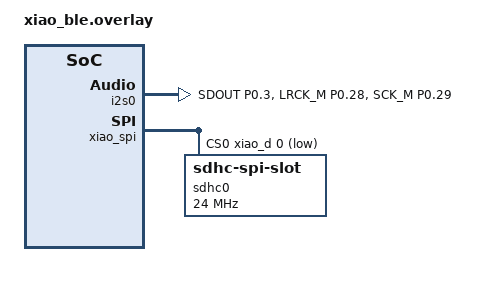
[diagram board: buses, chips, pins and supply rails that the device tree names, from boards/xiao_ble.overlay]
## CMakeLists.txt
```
cmake_minimum_required(VERSION 3.20.0)
find_package(Zephyr REQUIRED HINTS $ENV{ZEPHYR_BASE})

project(wav-zephyr-control)

target_sources(app PRIVATE
src/main.c
src/playback.c
src/ble_control.c)
    
```

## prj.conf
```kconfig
CONFIG_BT=y
CONFIG_BT_PERIPHERAL=y
CONFIG_BT_DEVICE_NAME="XIAO-WAV"
CONFIG_BT_DEVICE_APPEARANCE=0
CONFIG_BT_MAX_CONN=1
CONFIG_BT_GATT_DYNAMIC_DB=n

CONFIG_SYSTEM_WORKQUEUE_STACK_SIZE=2048

CONFIG_PRINTK=y
CONFIG_CONSOLE=y
CONFIG_SERIAL=y
CONFIG_UART_CONSOLE=y

CONFIG_I2S=y
CONFIG_SPI=y
CONFIG_DISK_ACCESS=y
CONFIG_FILE_SYSTEM=y
CONFIG_FAT_FILESYSTEM_ELM=y
CONFIG_LOG=y

CONFIG_MAIN_STACK_SIZE=4096
CONFIG_HEAP_MEM_POOL_SIZE=16384
```

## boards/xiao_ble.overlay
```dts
/* boards/xiao_ble.overlay */
#include <zephyr/dt-bindings/pinctrl/nrf-pinctrl.h>

/ {
	aliases {
		i2s-tx = &i2s0;
	};
};

&pinctrl {
	i2s0_default: i2s0_default {
		group1 {
			psels = <
				NRF_PSEL(I2S_SDOUT, 0, 3)
				NRF_PSEL(I2S_LRCK_M, 0, 28)
				NRF_PSEL(I2S_SCK_M, 0, 29)
			>;
		};
	};
};

&i2s0 {
	status = "okay";
	pinctrl-0 = <&i2s0_default>;
	pinctrl-names = "default";
};

&xiao_spi {
	status = "okay";
	cs-gpios = <&xiao_d 0 GPIO_ACTIVE_LOW>;

	sdhc0: sdhc@0 {
		compatible = "zephyr,sdhc-spi-slot";
		reg = <0>;
		status = "okay";
		spi-max-frequency = <24000000>;

		mmc {
			compatible = "zephyr,sdmmc-disk";
			disk-name = "SD";
			status = "okay";
		};
	};
};
```

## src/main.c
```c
#include <stdbool.h>
#include <stdint.h>
#include <string.h>

#include <zephyr/kernel.h>
#include <zephyr/sys/printk.h>

#include "app_cmd.h"
#include "ble_control.h"
#include "playback.h"

#define PLAYER_STACK_SIZE 4096
#define PLAYER_PRIORITY 5

K_MSGQ_DEFINE(player_cmd_q, sizeof(struct app_cmd), 8, 4);

struct player_state {
	bool playing;
	bool paused;
	uint8_t volume;
	char current_file[APP_MAX_FILENAME];
};

static struct player_state g_player = {
	.playing = false,
	.paused = false,
	.volume = 100,
	.current_file = "SAMPL~16.WAV",
};

K_THREAD_STACK_DEFINE(player_stack, PLAYER_STACK_SIZE);
static struct k_thread player_thread_data;

static void handle_cmd(const struct app_cmd *cmd)
{
	int ret;

	switch (cmd->type) {
	case APP_CMD_PLAY:
		strncpy(g_player.current_file, cmd->filename,
			sizeof(g_player.current_file) - 1);
		g_player.current_file[sizeof(g_player.current_file) - 1] = '\0';

		ret = playback_play(g_player.current_file);
		if (ret == 0) {
			g_player.playing = true;
			g_player.paused = false;
		} else {
			printk("PLAY failed: %d\n", ret);
			g_player.playing = false;
			g_player.paused = false;
		}
		break;

	case APP_CMD_STOP:
		ret = playback_stop();
		if (ret < 0) {
			printk("STOP failed: %d\n", ret);
		}
		g_player.playing = false;
		g_player.paused = false;
		break;

	case APP_CMD_PAUSE:
		if (g_player.playing && !g_player.paused) {
			ret = playback_pause();
			if (ret < 0) {
				printk("PAUSE failed: %d\n", ret);
			} else {
				g_player.paused = true;
			}
		}
		break;

	case APP_CMD_RESUME:
		if (g_player.playing && g_player.paused) {
			ret = playback_resume();
			if (ret < 0) {
				printk("RESUME failed: %d\n", ret);
			} else {
				g_player.paused = false;
			}
		}
		break;

	case APP_CMD_SET_VOLUME:
		ret = playback_set_volume(cmd->volume);
		if (ret < 0) {
			printk("SET_VOLUME failed: %d\n", ret);
		} else {
			g_player.volume = cmd->volume;
		}
		break;

	default:
		printk("Unhandled command type: %d\n", cmd->type);
		break;
	}
}

static void player_thread(void *p1, void *p2, void *p3)
{
	ARG_UNUSED(p1);
	ARG_UNUSED(p2);
	ARG_UNUSED(p3);

	struct app_cmd cmd;

	printk("Playback thread started\n");

	for (;;) {
		if (k_msgq_get(&player_cmd_q, &cmd, K_FOREVER) == 0) {
			handle_cmd(&cmd);
		}
	}
}

int main(void)
{
	int err;

	printk("Starting BLE WAV controller\n");

	err = playback_init();
	if (err) {
		printk("Playback init failed: %d\n", err);
		return err;
	}

	k_thread_create(&player_thread_data,
			player_stack,
			K_THREAD_STACK_SIZEOF(player_stack),
			player_thread,
			NULL, NULL, NULL,
			PLAYER_PRIORITY,
			0,
			K_NO_WAIT);

	err = ble_control_init(&player_cmd_q);
	if (err) {
		printk("BLE control init failed: %d\n", err);
		return err;
	}

	printk("Ready\n");
	return 0;
}
```

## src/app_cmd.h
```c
#pragma once

#include <stdint.h>

#define APP_MAX_FILENAME 32

enum app_cmd_type {
    APP_CMD_PLAY = 1,
    APP_CMD_STOP,
    APP_CMD_PAUSE,
    APP_CMD_RESUME,
    APP_CMD_SET_VOLUME,
};

struct app_cmd {
    enum app_cmd_type type;
    uint8_t volume;
    char filename[APP_MAX_FILENAME];
};
```

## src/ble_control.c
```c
#include <stdlib.h>
#include <string.h>

#include <zephyr/bluetooth/bluetooth.h>
#include <zephyr/bluetooth/gatt.h>
#include <zephyr/bluetooth/uuid.h>
#include <zephyr/kernel.h>
#include <zephyr/sys/printk.h>
#include <zephyr/sys/util.h>

#include "app_cmd.h"
#include "ble_control.h"

#define BT_UUID_PLAYER_SERVICE_VAL \
	BT_UUID_128_ENCODE(0x12345678, 0x1234, 0x5678, 0x1234, 0x56789abcdef0)

#define BT_UUID_PLAYER_CTRL_VAL \
	BT_UUID_128_ENCODE(0x12345678, 0x1234, 0x5678, 0x1234, 0x56789abcdef1)

static struct k_msgq *g_cmd_q;

static struct bt_uuid_128 player_service_uuid =
	BT_UUID_INIT_128(BT_UUID_PLAYER_SERVICE_VAL);

static struct bt_uuid_128 player_ctrl_uuid =
	BT_UUID_INIT_128(BT_UUID_PLAYER_CTRL_VAL);

static ssize_t ctrl_write(struct bt_conn *conn,
			  const struct bt_gatt_attr *attr,
			  const void *buf,
			  uint16_t len,
			  uint16_t offset,
			  uint8_t flags)
{
	ARG_UNUSED(conn);
	ARG_UNUSED(attr);
	ARG_UNUSED(flags);

	struct app_cmd cmd = {0};
	char tmp[48];
	size_t n = MIN((size_t)len, sizeof(tmp) - 1);

	if (offset != 0) {
		return BT_GATT_ERR(BT_ATT_ERR_INVALID_OFFSET);
	}

	memcpy(tmp, buf, n);
	tmp[n] = '\0';

	printk("BLE cmd: %s\n", tmp);

	if (strcmp(tmp, "STOP") == 0) {
		cmd.type = APP_CMD_STOP;
	} else if (strcmp(tmp, "PAUSE") == 0) {
		cmd.type = APP_CMD_PAUSE;
	} else if (strcmp(tmp, "RESUME") == 0) {
		cmd.type = APP_CMD_RESUME;
	} else if (strncmp(tmp, "VOL:", 4) == 0) {
		cmd.type = APP_CMD_SET_VOLUME;
		cmd.volume = (uint8_t)atoi(&tmp[4]);
	} else if (strncmp(tmp, "PLAY:", 5) == 0) {
		cmd.type = APP_CMD_PLAY;
		strncpy(cmd.filename, &tmp[5], sizeof(cmd.filename) - 1);
		cmd.filename[sizeof(cmd.filename) - 1] = '\0';
	} else {
		printk("Unknown command\n");
		return BT_GATT_ERR(BT_ATT_ERR_VALUE_NOT_ALLOWED);
	}

	if (g_cmd_q == NULL) {
		return BT_GATT_ERR(BT_ATT_ERR_UNLIKELY);
	}

	if (k_msgq_put(g_cmd_q, &cmd, K_NO_WAIT) != 0) {
		printk("Command queue full\n");
		return BT_GATT_ERR(BT_ATT_ERR_INSUFFICIENT_RESOURCES);
	}

	return len;
}

BT_GATT_SERVICE_DEFINE(player_svc,
	BT_GATT_PRIMARY_SERVICE(&player_service_uuid),
	BT_GATT_CHARACTERISTIC(&player_ctrl_uuid.uuid,
			       BT_GATT_CHRC_WRITE | BT_GATT_CHRC_WRITE_WITHOUT_RESP,
			       BT_GATT_PERM_WRITE,
			       NULL, ctrl_write, NULL),
);

static const struct bt_data ad[] = {
	BT_DATA_BYTES(BT_DATA_FLAGS, (BT_LE_AD_GENERAL | BT_LE_AD_NO_BREDR)),
	BT_DATA_BYTES(BT_DATA_UUID128_ALL, BT_UUID_PLAYER_SERVICE_VAL),
};

static const struct bt_data sd[] = {
	BT_DATA(BT_DATA_NAME_COMPLETE, CONFIG_BT_DEVICE_NAME,
		sizeof(CONFIG_BT_DEVICE_NAME) - 1),
};

static int start_advertising(void)
{
	int err = bt_le_adv_start(BT_LE_ADV_CONN, ad, ARRAY_SIZE(ad),
				  sd, ARRAY_SIZE(sd));

	if (err) {
		printk("Advertising failed to start: %d\n", err);
		return err;
	}

	printk("Advertising started\n");
	return 0;
}

int ble_control_init(struct k_msgq *cmd_q)
{
	int err;

	g_cmd_q = cmd_q;

	err = bt_enable(NULL);
	if (err) {
		printk("Bluetooth init failed: %d\n", err);
		return err;
	}

	printk("Bluetooth initialized\n");

	return start_advertising();
}
```

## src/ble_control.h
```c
#pragma once

#include <zephyr/kernel.h>

int ble_control_init(struct k_msgq *cmd_q);
```

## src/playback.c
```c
#include "playback.h"

#include <errno.h>
#include <stdbool.h>
#include <stdint.h>
#include <stdio.h>
#include <string.h>

#include <ff.h>
#include <zephyr/drivers/i2s.h>
#include <zephyr/fs/fs.h>
#include <zephyr/kernel.h>
#include <zephyr/sys/printk.h>
#include <zephyr/sys/util.h>

#include "app_cmd.h"

#define BLOCK_SIZE 2048
#define NUM_BLOCKS 20
#define SD_MOUNT_POINT "/SD:"

#ifdef CONFIG_NOCACHE_MEMORY
#define MEM_SLAB_CACHE_ATTR __nocache
#else
#define MEM_SLAB_CACHE_ATTR
#endif

static char MEM_SLAB_CACHE_ATTR __aligned(WB_UP(32))
	_k_mem_slab_buf_tx_0_mem_slab[NUM_BLOCKS * WB_UP(BLOCK_SIZE)];

static STRUCT_SECTION_ITERABLE(k_mem_slab, tx_0_mem_slab) =
	Z_MEM_SLAB_INITIALIZER(tx_0_mem_slab, _k_mem_slab_buf_tx_0_mem_slab,
			       WB_UP(BLOCK_SIZE), NUM_BLOCKS);

struct wav_header {
	char riff[4];
	uint32_t file_size;
	char wave[4];
	char fmt_id[4];
	uint32_t fmt_size;
	uint16_t audio_format;
	uint16_t num_channels;
	uint32_t sample_rate;
	uint32_t byte_rate;
	uint16_t block_align;
	uint16_t bits_per_sample;
	char data_id[4];
	uint32_t data_size;
} __packed;

static const struct device *g_i2s_dev;
static FATFS fat_fs;
static struct fs_mount_t g_mount = {
	.type = FS_FATFS,
	.fs_data = &fat_fs,
	.mnt_point = SD_MOUNT_POINT,
};
static bool g_sd_mounted;
static uint8_t g_volume = 100;

static void print_wav_header(const struct wav_header *hdr)
{
	printk("WAV header:\n");
	printk("  riff: %.4s\n", hdr->riff);
	printk("  file_size: %u\n", hdr->file_size);
	printk("  wave: %.4s\n", hdr->wave);
	printk("  fmt_id: %.4s\n", hdr->fmt_id);
	printk("  fmt_size: %u\n", hdr->fmt_size);
	printk("  audio_format: %u\n", hdr->audio_format);
	printk("  num_channels: %u\n", hdr->num_channels);
	printk("  sample_rate: %u\n", hdr->sample_rate);
	printk("  byte_rate: %u\n", hdr->byte_rate);
	printk("  block_align: %u\n", hdr->block_align);
	printk("  bits_per_sample: %u\n", hdr->bits_per_sample);
	printk("  data_id: %.4s\n", hdr->data_id);
	printk("  data_size: %u\n", hdr->data_size);
}

static int mount_sd(void)
{
	int ret;

	if (g_sd_mounted) {
		return 0;
	}

	ret = fs_mount(&g_mount);
	if (ret < 0) {
		printk("fs_mount failed: %d\n", ret);
		return ret;
	}

	g_sd_mounted = true;
	printk("SD card mounted at %s\n", g_mount.mnt_point);
	return 0;
}

static int read_wav_header(struct fs_file_t *file, struct wav_header *hdr)
{
	ssize_t n = fs_read(file, hdr, sizeof(*hdr));

	if (n < 0) {
		printk("fs_read header failed: %d\n", (int)n);
		return (int)n;
	}

	if (n != sizeof(*hdr)) {
		printk("Short WAV header read: got %d bytes, expected %u\n",
		       (int)n, (unsigned int)sizeof(*hdr));
		return -EIO;
	}

	print_wav_header(hdr);

	if (memcmp(hdr->riff, "RIFF", 4) != 0 ||
	    memcmp(hdr->wave, "WAVE", 4) != 0 ||
	    memcmp(hdr->fmt_id, "fmt ", 4) != 0 ||
	    memcmp(hdr->data_id, "data", 4) != 0) {
		printk("Unsupported WAV header layout\n");
		return -EINVAL;
	}

	if (hdr->audio_format != 1) {
		printk("Only PCM WAV supported\n");
		return -EINVAL;
	}

	if (hdr->bits_per_sample != 16) {
		printk("Only 16-bit WAV supported\n");
		return -EINVAL;
	}

	if (hdr->num_channels != 1 && hdr->num_channels != 2) {
		printk("Only mono or stereo WAV supported\n");
		return -EINVAL;
	}

	return 0;
}

static void apply_volume_to_stereo_block(int16_t *samples, size_t sample_count)
{
	for (size_t i = 0; i < sample_count; i++) {
		samples[i] = (int16_t)(((int32_t)samples[i] * g_volume) / 100);
	}
}

static ssize_t fill_tx_block_from_wav(struct fs_file_t *file,
				      void *tx_block,
				      size_t block_size,
				      const struct wav_header *hdr)
{
	if (hdr->num_channels == 2) {
		ssize_t n = fs_read(file, tx_block, block_size);

		if (n > 0) {
			size_t sample_count = (size_t)n / sizeof(int16_t);
			apply_volume_to_stereo_block((int16_t *)tx_block, sample_count);

			if (n < (ssize_t)block_size) {
				memset((uint8_t *)tx_block + n, 0,
				       block_size - (size_t)n);
			}
		}

		return n;
	}

	/* Mono 16-bit PCM -> duplicate into stereo. */
	int16_t *out = (int16_t *)tx_block;
	size_t stereo_frames = block_size / 4;
	size_t mono_bytes = stereo_frames * sizeof(int16_t);
	int16_t mono_buf[BLOCK_SIZE / 4];
	ssize_t n = fs_read(file, mono_buf, mono_bytes);

	if (n <= 0) {
		return n;
	}

	size_t samples_read = (size_t)n / sizeof(int16_t);

	for (size_t i = 0; i < samples_read; i++) {
		int16_t scaled = (int16_t)(((int32_t)mono_buf[i] * g_volume) / 100);

		out[2 * i] = scaled;
		out[2 * i + 1] = scaled;
	}

	for (size_t i = samples_read; i < stereo_frames; i++) {
		out[2 * i] = 0;
		out[2 * i + 1] = 0;
	}

	return n;
}

static int configure_i2s(const struct wav_header *hdr)
{
	struct i2s_config i2s_cfg = {
		.word_size = 16U,
		.channels = 2U,
		.format = I2S_FMT_DATA_FORMAT_I2S,
		.frame_clk_freq = hdr->sample_rate,
		.block_size = BLOCK_SIZE,
		.timeout = 2000,
		.options = I2S_OPT_FRAME_CLK_MASTER | I2S_OPT_BIT_CLK_MASTER,
		.mem_slab = &tx_0_mem_slab,
	};

	return i2s_configure(g_i2s_dev, I2S_DIR_TX, &i2s_cfg);
}

int playback_init(void)
{
	g_i2s_dev = DEVICE_DT_GET(DT_ALIAS(i2s_tx));
	if (!device_is_ready(g_i2s_dev)) {
		printk("I2S device not ready\n");
		return -ENODEV;
	}

	printk("playback_init\n");
	return 0;
}

int playback_play(const char *filename)
{
	struct fs_file_t file;
	struct wav_header hdr;
	char wav_path[sizeof(SD_MOUNT_POINT) + 1 + APP_MAX_FILENAME];
	size_t bytes_left;
	bool started = false;
	int ret;

	ret = mount_sd();
	if (ret < 0) {
		return ret;
	}

	if (filename == NULL || filename[0] == '\0') {
		return -EINVAL;
	}

	if (filename[0] == '/') {
		snprintk(wav_path, sizeof(wav_path), "%s", filename);
	} else {
		snprintk(wav_path, sizeof(wav_path), "%s/%s",
			 SD_MOUNT_POINT, filename);
	}

	printk("playback_play: %s\n", wav_path);

	fs_file_t_init(&file);

	ret = fs_open(&file, wav_path, FS_O_READ);
	if (ret < 0) {
		printk("fs_open(%s) failed: %d\n", wav_path, ret);
		return ret;
	}

	ret = read_wav_header(&file, &hdr);
	if (ret < 0) {
		fs_close(&file);
		return ret;
	}

	ret = configure_i2s(&hdr);
	if (ret < 0) {
		printk("Failed to configure I2S stream: %d\n", ret);
		fs_close(&file);
		return ret;
	}

	bytes_left = hdr.data_size;

	while (bytes_left > 0) {
		void *tx_block;
		ssize_t n;

		ret = k_mem_slab_alloc(&tx_0_mem_slab, &tx_block, K_FOREVER);
		if (ret < 0) {
			printk("Failed to allocate TX block\n");
			break;
		}

		n = fill_tx_block_from_wav(&file, tx_block, BLOCK_SIZE, &hdr);
		if (n <= 0) {
			printk("Read/conversion error: %d\n", (int)n);
			k_mem_slab_free(&tx_0_mem_slab, tx_block);
			ret = (n == 0) ? -EIO : (int)n;
			break;
		}

		ret = i2s_write(g_i2s_dev, tx_block, BLOCK_SIZE);
		if (ret < 0) {
			printk("i2s_write failed: %d\n", ret);
			k_mem_slab_free(&tx_0_mem_slab, tx_block);
			break;
		}

		if (!started) {
			ret = i2s_trigger(g_i2s_dev, I2S_DIR_TX, I2S_TRIGGER_START);
			if (ret < 0) {
				printk("Could not start I2S TX: %d\n", ret);
				break;
			}
			started = true;
		}

		bytes_left -= MIN(bytes_left, (size_t)n);
	}

	if (started) {
		int drain_ret = i2s_trigger(g_i2s_dev, I2S_DIR_TX, I2S_TRIGGER_DRAIN);

		if (drain_ret < 0) {
			printk("Could not drain I2S TX: %d\n", drain_ret);
			if (ret == 0) {
				ret = drain_ret;
			}
		}
	}

	fs_close(&file);
	return ret;
}

int playback_stop(void)
{
	int ret = i2s_trigger(g_i2s_dev, I2S_DIR_TX, I2S_TRIGGER_DROP);

	if (ret < 0) {
		printk("playback_stop failed: %d\n", ret);
		return ret;
	}

	printk("playback_stop\n");
	return 0;
}

int playback_pause(void)
{
	printk("playback_pause not supported by this I2S driver/API\n");
	return -ENOTSUP;
}

int playback_resume(void)
{
	printk("playback_resume not supported by this I2S driver/API\n");
	return -ENOTSUP;
}

int playback_set_volume(uint8_t volume)
{
	if (volume > 100) {
		volume = 100;
	}

	g_volume = volume;
	printk("playback_set_volume: %u\n", g_volume);
	return 0;
}
```

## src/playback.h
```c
#pragma once

#include <stdint.h>

int playback_init(void);
int playback_play(const char *filename);
int playback_stop(void);
int playback_pause(void);
int playback_resume(void);
int playback_set_volume(uint8_t volume);
```
